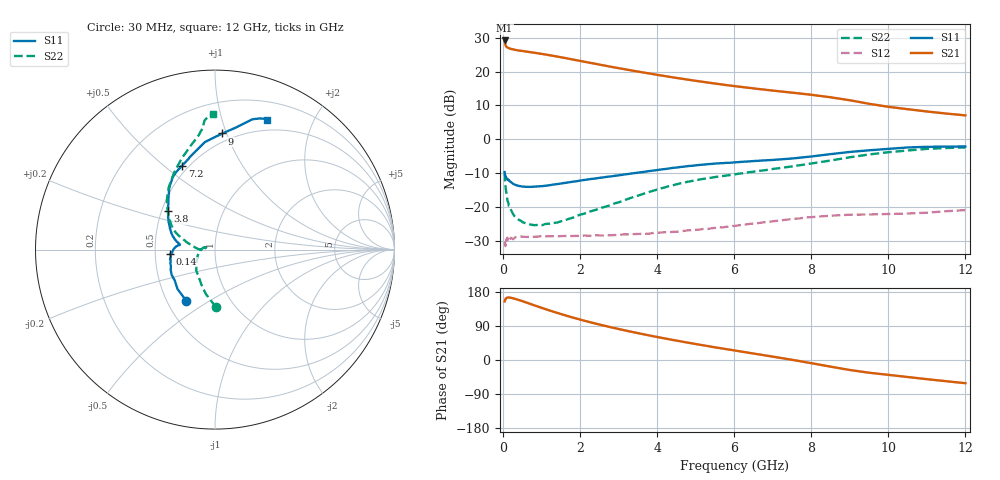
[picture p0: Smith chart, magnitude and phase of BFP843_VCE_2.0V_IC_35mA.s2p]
! Infineon Technologies  Discrete & RF Semiconductors
! BFP843
! VCE =  2.0 V,  IC =  35 mA
! Common Emitter S-Parameters:  Aug 2013
# GHz  S  MA  R  50
!  f  S11  S21  S12  S22
! GHz  MAG  ANG  MAG  ANG  MAG  ANG  MAG  ANG
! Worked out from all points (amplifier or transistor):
!   103 points, 30 MHz to 12 GHz, reference 50 ohm
!   highest |S21| = 29.2 dB at 30 MHz (marker M1)
!   |S21| within 3 dB of that: start of sweep to 410.2 MHz
!   unconditionally stable (mu >= 1): 79.68 MHz to 93.67 MHz; 102.5 MHz to 10.55 GHz
!   at 400 MHz: K = 1.03, MAG = 26.5 dB, |S12| = -28.9 dB
!   at 3.7 GHz: K = 1.36, MAG = 20.2 dB, |S12| = -28.0 dB
!   at 12 GHz: K = 0.85, MSG = 14.0 dB, |S12| = -21.0 dB
!   S11 on the Smith chart (normalised r, x): 30 MHz: 0.63, -0.40; 140 MHz: 0.60, -0.03; 3.8 GHz: 0.54, +0.26; 7.2 GHz: 0.46, +0.58; 9 GHz: 0.43, +0.97; 12 GHz: 0.38, +1.41
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0.03  0.3269 -119.5  28.99 154.8  0.0274 26.7  0.3199 -89.1
0.04  0.303 -133.6  26.44 157.2  0.0297 20.8  0.2536 -101.4
0.05  0.2827 -142.4  25.14 160.4  0.0261 19.6  0.2114 -110.7
0.07  0.2714 -155.4  23.58 162.9  0.0329 19.5  0.1688 -124.8
0.1  0.2537 -166.8  22.82 164.6  0.0349 11.3  0.1273 -143.7
0.14  0.2502 -174.8  22.27 164.9  0.0313 11.1  0.1036 -158.3
0.3  0.2116 174.5  21.07 161.4  0.0352 6.3  0.0713 175.6
0.9  0.2001 171.0  18.7 140.8  0.0362 4.9  0.0538 167.9
1.2  0.2085 169.9  17.52 130.6  0.0366 4.7  0.0562 172.7
1.6  0.2258 166.5  15.94 118.0  0.037 5.7  0.0631 178.4
2.1  0.2494 161.6  14.04 103.7  0.0376 6.7  0.0791 179.6
2.5  0.2682 157.2  12.71 93.4  0.0376 7.6  0.0947 177.4
2.9  0.2876 152.2  11.52 83.9  0.0382 9.1  0.1127 174.1
3.8  0.3386 140.6  9.39 64.6  0.0401 12.6  0.1668 164.7
4.1  0.3571 137.0  8.785 58.6  0.0416 12.8  0.1878 161.8
5  0.4108 128.7  7.32 42.0  0.0455 14.7  0.2474 155.2
6.1  0.458 121.7  6.021 23.5  0.0529 15.4  0.3075 146.0
7.2  0.5028 111.3  5.101 5.5  0.0626 12.0  0.3752 135.5
8.5  0.6021 95.3  4.175 -17.6  0.0737 2.9  0.4843 118.2
9  0.6482 86.4  3.773 -26.4  0.0764 -1.0  0.5406 110.1
10.5  0.7553 74.0  2.784 -44.9  0.0794 -8.8  0.681 95.8
12  0.7804 68.1  2.254 -61.2  0.0891 -16.1  0.7554 90.7
